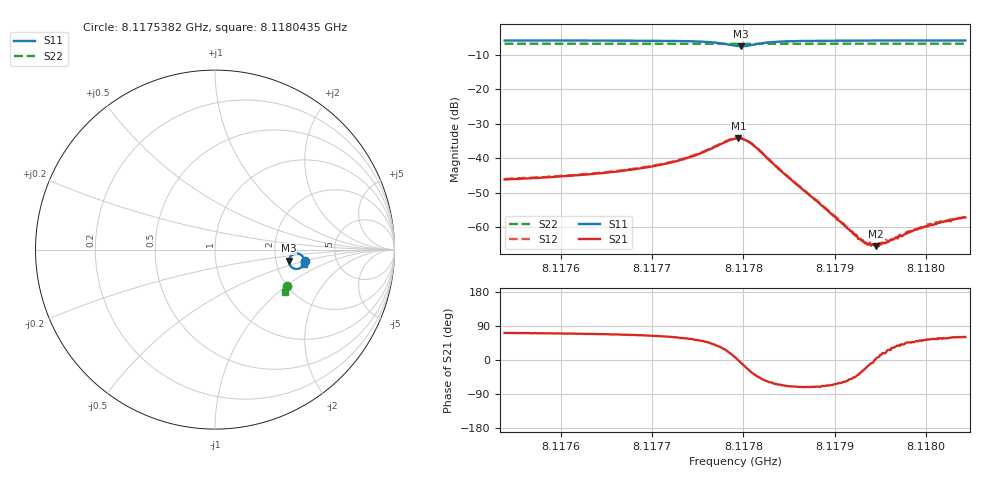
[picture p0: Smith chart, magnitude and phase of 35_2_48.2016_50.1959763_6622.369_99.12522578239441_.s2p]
#  HZ  S  RI  R  50.00
! Rohde & Schwarz Vector Network Analyzer
! Rohde-Schwarz,ZNB20-2Port,1311601062101988,3.16
! Created: UTC 3/20/2024, 11:37:37 AM
! freq[Hz]  re:S11  im:S11  re:S21  im:S21  re:S12  im:S12  re:S22  im:S22
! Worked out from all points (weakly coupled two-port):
!   401 points, 8.1175382 GHz to 8.1180435 GHz, reference 50 ohm
!   highest |S21| = -34.27 dB at 8.1177946 GHz (marker M1); lowest = -65.5 dB at 8.117945 GHz (marker M2)
!   lowest |S11| = -7.6 dB at 8.1177972 GHz (marker M3), VSWR 2.43, Z = 118 - j17.5 ohm
!   |S11| at or under -10 dB: nowhere
!   |S22| runs from -7.0 to -6.9 dB; largest |S21 - S12| = 0.00062
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8.11753817e9  0.5012 -0.0614  0.00157 0.00466  0.00164 0.0047  0.4034 -0.2046
8.11762282e9  0.4988 -0.0716  0.00204 0.00535  0.00212 0.00544  0.4008 -0.21
8.11766956e9  0.4965 -0.0787  0.00263 0.00606  0.00269 0.00617  0.3993 -0.2131
8.11770747e9  0.4921 -0.087  0.00358 0.00707  0.00376 0.00716  0.3979 -0.2156
8.11774537e9  0.4802 -0.0995  0.00621 0.00869  0.00654 0.00885  0.3961 -0.2184
8.11777569e9  0.4462 -0.1071  0.0135 0.00872  0.0139 0.00881  0.3936 -0.2199
8.11779085e9  0.4156 -0.0827  0.019 0.00251  0.0193 0.00227  0.3922 -0.2194
8.11779464e9  0.412 -0.07  0.0193 -0.000358  0.0197 -0.000506  0.3921 -0.2191
8.11779717e9  0.4118 -0.0611  0.019 -0.00224  0.0193 -0.00248  0.3921 -0.2189
8.11780348e9  0.4196 -0.0398  0.0167 -0.00645  0.0168 -0.00679  0.3925 -0.2185
8.11781106e9  0.4383 -0.0248  0.0122 -0.00904  0.0125 -0.0092  0.3933 -0.2185
8.11783507e9  0.481 -0.0303  0.00345 -0.00696  0.00354 -0.00707  0.3943 -0.2205
8.1178755e9  0.4962 -0.052  0.000893 -0.00254  0.000875 -0.00261  0.3935 -0.2241
8.11792351e9  0.4988 -0.065  0.000539 -0.000511  0.000585 -0.000524  0.3919 -0.2275
8.11793109e9  0.499 -0.0664  0.000569 -0.000304  0.000535 -0.0003  0.3916 -0.2281
8.1179374e9  0.499 -0.0678  0.000557 -0.000143  0.000532 -0.000193  0.3914 -0.2285
8.11794498e9  0.499 -0.069  0.000531 2.07e-05  0.000571 7.83e-06  0.3913 -0.229
8.11796015e9  0.4989 -0.0714  0.000557 0.000284  0.000587 0.000252  0.3907 -0.23
8.1179791e9  0.4988 -0.0741  0.000557 0.000581  0.000613 0.000584  0.3901 -0.2312
8.11798541e9  0.4989 -0.075  0.000585 0.000646  0.000597 0.000629  0.3897 -0.2316
8.11800436e9  0.4986 -0.0774  0.000618 0.000871  0.000634 0.000855  0.3894 -0.2327
8.11804353e9  0.4983 -0.0818  0.000679 0.00121  0.000692 0.00121  0.3879 -0.2353
